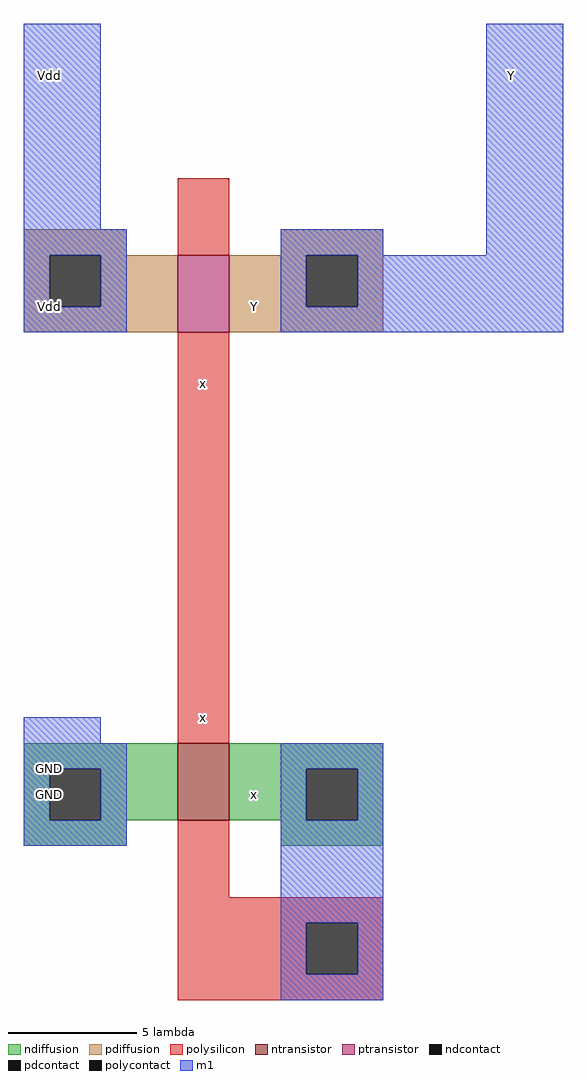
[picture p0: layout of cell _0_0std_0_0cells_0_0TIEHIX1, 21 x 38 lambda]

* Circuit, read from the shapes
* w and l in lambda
.subckt _0_0std_0_0cells_0_0TIEHIX1 Vdd
M1 x x GND VSUBS nfet w=3 l=2
M2 Y x Vdd NWELL pfet w=3 l=2
.ends

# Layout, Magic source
magic
tech TSMC180
<< ndiffusion >>
rect 6 11 12 12
rect 6 9 7 11
rect 9 9 12 11
rect 14 11 20 12
rect 14 9 17 11
rect 19 9 20 11
rect 6 8 10 9
rect 16 8 20 9
<< ndcontact >>
rect 7 9 9 11
rect 17 9 19 11
<< ntransistor >>
rect 12 9 14 12
<< pdiffusion >>
rect 6 31 10 32
rect 16 31 20 32
rect 6 29 7 31
rect 9 29 12 31
rect 6 28 12 29
rect 14 29 17 31
rect 19 29 20 31
rect 14 28 20 29
<< pdcontact >>
rect 7 29 9 31
rect 17 29 19 31
<< ptransistor >>
rect 12 28 14 31
<< polysilicon >>
rect 12 31 14 34
rect 12 12 14 28
rect 12 6 14 9
rect 12 5 20 6
rect 12 3 17 5
rect 19 3 20 5
rect 12 2 20 3
<< polycontact >>
rect 17 3 19 5
<< m1 >>
rect 6 32 9 40
rect 6 31 10 32
rect 6 29 7 31
rect 9 29 10 31
rect 6 28 10 29
rect 16 31 20 32
rect 24 31 27 40
rect 16 29 17 31
rect 19 29 27 31
rect 16 28 27 29
rect 6 12 9 13
rect 6 11 10 12
rect 6 9 7 11
rect 9 9 10 11
rect 6 8 10 9
rect 16 11 20 12
rect 16 9 17 11
rect 19 9 20 11
rect 16 5 20 9
rect 16 3 17 5
rect 19 3 20 5
rect 16 2 20 3
<< labels >>
rlabel ndiffusion 15 10 15 10 3 x
rlabel pdiffusion 15 29 15 29 3 Y
rlabel polysilicon 13 13 13 13 3 x
rlabel polysilicon 13 26 13 26 3 x
rlabel ndiffusion 7 10 7 10 3 GND
rlabel pdiffusion 7 29 7 29 3 Vdd
rlabel m1 7 38 7 38 3 Vdd
port 3 e
rlabel m1 7 11 7 11 2 GND
rlabel m1 25 38 25 38 6 Y
<< end >>
